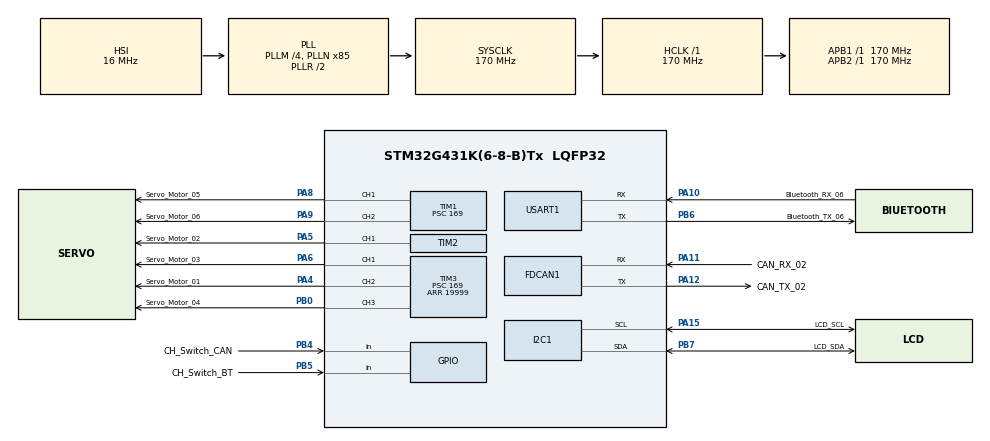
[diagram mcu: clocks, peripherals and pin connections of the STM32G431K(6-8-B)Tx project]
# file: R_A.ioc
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FDCAN1.CalculateBaudRateNominal=499999
FDCAN1.CalculateTimeBitNominal=2000
FDCAN1.CalculateTimeQuantumNominal=117.64705882352942
FDCAN1.NominalPrescaler=20
FDCAN1.NominalSyncJumpWidth=3
FDCAN1.NominalTimeSeg1=12
FDCAN1.NominalTimeSeg2=4
FDCAN1.StdFiltersNbr=1
FREERTOS.Queues01=recvQueue,8,8,1,Dynamic,NULL,NULL
FREERTOS.Tasks01=ServoTask,24,256,StartServoTask,Default,NULL,Dynamic,NULL,NULL;CommTask,32,256,StartCommTask,Default,NULL,Dynamic,NULL,NULL;LcdTask,8,256,StartLcdTask,Default,NULL,Dynamic,NULL,NULL;SwitchTask,24,256,StartSwitchTask,Default,NULL,Dynamic,NULL,NULL
FREERTOS.configTOTAL_HEAP_SIZE=6144
I2C1.Timing=0x40B285C2
Mcu.Family=STM32G4
Mcu.Name=STM32G431K(6-8-B)Tx
Mcu.Package=LQFP32
NVIC.FDCAN1_IT0_IRQn=true\:5\:0\:false\:false\:true\:true\:true\:true\:true
NVIC.PriorityGroup=NVIC_PRIORITYGROUP_4
NVIC.TIM6_DAC_IRQn=true\:15\:0\:false\:false\:true\:false\:false\:true\:true
NVIC.TimeBase=TIM6_DAC_IRQn
NVIC.TimeBaseIP=TIM6
NVIC.USART1_IRQn=true\:5\:0\:false\:false\:true\:true\:true\:true\:true
PA10.GPIO_Label=BIuetooth_RX_06
PA10.Mode=Asynchronous
PA10.Signal=USART1_RX
PA11.GPIO_Label=CAN_RX_02
PA11.Mode=FDCAN_Activate
PA11.Signal=FDCAN1_RX
PA12.GPIO_Label=CAN_TX_02
PA12.Mode=FDCAN_Activate
PA12.Signal=FDCAN1_TX
PA15.GPIO_Label=LCD_SCL
PA15.Mode=I2C
PA15.Signal=I2C1_SCL
PA4.GPIO_Label=Servo_Motor_01
PA4.Signal=S_TIM3_CH2
PA5.GPIO_Label=Servo_Motor_02
PA5.Signal=S_TIM2_CH1
PA6.GPIO_Label=Servo_Motor_03
PA6.Signal=S_TIM3_CH1
PA8.GPIO_Label=Servo_Motor_05
PA8.Signal=S_TIM1_CH1
PA9.GPIO_Label=Servo_Motor_06
PA9.Signal=S_TIM1_CH2
PB0.GPIO_Label=Servo_Motor_04
PB0.Signal=S_TIM3_CH3
PB4.GPIO_Label=CH_Switch_CAN
PB4.GPIO_PuPd=GPIO_PULLUP
PB4.Signal=GPIO_Input
PB5.GPIO_Label=CH_Switch_BT
PB5.GPIO_PuPd=GPIO_PULLUP
PB5.Signal=GPIO_Input
PB6.GPIO_Label=BIuetooth_TX_06
PB6.Mode=Asynchronous
PB6.Signal=USART1_TX
PB7.GPIO_Label=LCD_SDA
PB7.Mode=I2C
PB7.Signal=I2C1_SDA
ProjectManager.HeapSize=0x200
ProjectManager.StackSize=0x400
ProjectManager.TargetToolchain=STM32CubeIDE
RCC.ADC12Freq_Value=170000000
RCC.AHBFreq_Value=170000000
RCC.APB1Freq_Value=170000000
RCC.APB1TimFreq_Value=170000000
RCC.APB2Freq_Value=170000000
RCC.APB2TimFreq_Value=170000000
RCC.CortexFreq_Value=170000000
RCC.EXTERNAL_CLOCK_VALUE=12288000
RCC.HCLKFreq_Value=170000000
RCC.HSE_VALUE=8000000
RCC.HSI48_VALUE=48000000
RCC.HSI_VALUE=16000000
RCC.LSE_VALUE=32768
RCC.PLLM=RCC_PLLM_DIV4
RCC.PLLN=85
RCC.SYSCLKFreq_VALUE=170000000
RCC.SYSCLKSource=RCC_SYSCLKSOURCE_PLLCLK
RCC.USBFreq_Value=170000000
RCC.VCOOutputFreq_Value=340000000
SH.S_TIM1_CH1.0=TIM1_CH1,PWM Generation1 CH1
SH.S_TIM1_CH2.0=TIM1_CH2,PWM Generation2 CH2
SH.S_TIM2_CH1.0=TIM2_CH1,PWM Generation1 CH1
SH.S_TIM3_CH1.0=TIM3_CH1,PWM Generation1 CH1
SH.S_TIM3_CH2.0=TIM3_CH2,PWM Generation2 CH2
SH.S_TIM3_CH3.0=TIM3_CH3,PWM Generation3 CH3
TIM1.Channel-PWM\ Generation1\ CH1=TIM_CHANNEL_1
TIM1.Channel-PWM\ Generation2\ CH2=TIM_CHANNEL_2
TIM1.OCMode_PWM-PWM\ Generation2\ CH2=TIM_OCMODE_PWM1
TIM1.PeriodNoDither=19999
TIM1.Prescaler=169
TIM1.PulseNoDither_1=1500
TIM1.PulseNoDither_2=1500
TIM2.Channel-PWM\ Generation1\ CH1=TIM_CHANNEL_1
TIM2.PeriodNoDither=19999
TIM2.Prescaler=169
TIM2.PulseNoDither_1=1500
TIM3.Channel-PWM\ Generation1\ CH1=TIM_CHANNEL_1
TIM3.Channel-PWM\ Generation2\ CH2=TIM_CHANNEL_2
TIM3.Channel-PWM\ Generation3\ CH3=TIM_CHANNEL_3
TIM3.OCMode_PWM-PWM\ Generation2\ CH2=TIM_OCMODE_PWM1
TIM3.PeriodNoDither=19999
TIM3.Prescaler=169
TIM3.PulseNoDither_1=1500
TIM3.PulseNoDither_2=1500
TIM3.PulseNoDither_3=1500
USART1.VirtualMode-Asynchronous=VM_ASYNC
VP_FREERTOS_VS_CMSIS_V2.Mode=CMSIS_V2
VP_SYS_VS_DBSignals.Mode=DisableDeadBatterySignals
VP_SYS_VS_tim6.Mode=TIM6
VP_TIM1_VS_ClockSourceINT.Mode=Internal
board=custom

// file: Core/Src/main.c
/* USER CODE BEGIN Header */
/**
  ******************************************************************************
  * @file           : main.c
  * @brief          : Main program body
  ******************************************************************************
  * @attention
  *
  * Copyright (c) 2026 STMicroelectronics.
  * All rights reserved.
  *
  * This software is licensed under terms that can be found in the LICENSE file
  * in the root directory of this software component.
  * If no LICENSE file comes with this software, it is provided AS-IS.
  *
  ******************************************************************************
  */
/* USER CODE END Header */
#include "main.h"
#include "cmsis_os.h"

/* USER CODE BEGIN Includes */
#include "Packet.h"
#include "bluetooth.h"
#include "can_comm.h"
#include "switch_mode.h"
#include "servo.h"
#include "lcd.h"
#include <string.h>
/* USER CODE END Includes */

FDCAN_HandleTypeDef hfdcan1;

I2C_HandleTypeDef hi2c1;

TIM_HandleTypeDef htim1;
TIM_HandleTypeDef htim2;
TIM_HandleTypeDef htim3;

UART_HandleTypeDef huart1;

/* Definitions for ServoTask */
osThreadId_t ServoTaskHandle;
const osThreadAttr_t ServoTask_attributes = {
  .name = "ServoTask",
  .priority = (osPriority_t) osPriorityNormal,
  .stack_size = 256 * 4
};
/* Definitions for CommTask */
osThreadId_t CommTaskHandle;
const osThreadAttr_t CommTask_attributes = {
  .name = "CommTask",
  .priority = (osPriority_t) osPriorityAboveNormal,
  .stack_size = 256 * 4
};
/* Definitions for LcdTask */
osThreadId_t LcdTaskHandle;
const osThreadAttr_t LcdTask_attributes = {
  .name = "LcdTask",
  .priority = (osPriority_t) osPriorityLow,
  .stack_size = 256 * 4
};
/* Definitions for SwitchTask */
osThreadId_t SwitchTaskHandle;
const osThreadAttr_t SwitchTask_attributes = {
  .name = "SwitchTask",
  .priority = (osPriority_t) osPriorityNormal,
  .stack_size = 256 * 4
};
/* Definitions for recvQueue */
osMessageQueueId_t recvQueueHandle;
const osMessageQueueAttr_t recvQueue_attributes = {
  .name = "recvQueue"
};
/* Definitions for Timer100ms (SERVO_DBG 0x200 송신용) */
osTimerId_t Timer100msHandle;
const osTimerAttr_t Timer100ms_attributes = {
  .name = "Timer100ms"
};
/* Definitions for Timer1000ms (ERROR_ROBOT 0x201 송신용) */
osTimerId_t Timer1000msHandle;
const osTimerAttr_t Timer1000ms_attributes = {
  .name = "Timer1000ms"
};
/* USER CODE BEGIN PV */
static GSensorPacket_t g_btRxGSensorPkt; /* BT에서 마지막으로 수신한 원본 (채널별 구분용, Live Expression 확인용) */
static FlexPacket_t    g_btRxFlexPkt;
/* USER CODE END PV */

void SystemClock_Config(void);
static void MX_GPIO_Init(void);
static void MX_FDCAN1_Init(void);
static void MX_I2C1_Init(void);
static void MX_TIM1_Init(void);
static void MX_TIM2_Init(void);
static void MX_TIM3_Init(void);
static void MX_USART1_UART_Init(void);
void StartServoTask(void *argument);
void StartCommTask(void *argument);
void StartLcdTask(void *argument);
void StartSwitchTask(void *argument);
void Callback_100ms(void *argument);
void Callback_1000ms(void *argument);

int main(void)
{

  /* MCU Configuration--------------------------------------------------------*/

  /* Reset of all peripherals, Initializes the Flash interface and the Systick. */
  HAL_Init();

  /* Configure the system clock */
  SystemClock_Config();

  /* Initialize all configured peripherals */
  MX_GPIO_Init();
  MX_FDCAN1_Init();
  MX_I2C1_Init();
  MX_TIM1_Init();
  MX_TIM2_Init();
  MX_TIM3_Init();
  MX_USART1_UART_Init();
  /* USER CODE BEGIN 2 */
  CAN_Comm_Init();
  /* USER CODE END 2 */

  /* Init scheduler */
  osKernelInitialize();

  /* Create the timer(s) */
  /* creation of Timer100ms */
  Timer100msHandle = osTimerNew(Callback_100ms, osTimerPeriodic, NULL, &Timer100ms_attributes);

  /* creation of Timer1000ms */
  Timer1000msHandle = osTimerNew(Callback_1000ms, osTimerPeriodic, NULL, &Timer1000ms_attributes);

  /* USER CODE BEGIN RTOS_TIMERS */
  osTimerStart(Timer100msHandle, 100);   /* SERVO_DBG(0x200) 주기 송신 시작 */
  osTimerStart(Timer1000msHandle, 1000); /* ERROR_ROBOT(0x201) 주기 송신 시작 */
  /* USER CODE END RTOS_TIMERS */

  /* Create the queue(s) */
  /* creation of recvQueue */
  recvQueueHandle = osMessageQueueNew (8, 8, &recvQueue_attributes);

  /* Create the thread(s) */
  /* creation of ServoTask */
  ServoTaskHandle = osThreadNew(StartServoTask, NULL, &ServoTask_attributes);

  /* creation of CommTask */
  CommTaskHandle = osThreadNew(StartCommTask, NULL, &CommTask_attributes);

  /* creation of LcdTask */
  LcdTaskHandle = osThreadNew(StartLcdTask, NULL, &LcdTask_attributes);

  /* creation of SwitchTask */
  SwitchTaskHandle = osThreadNew(StartSwitchTask, NULL, &SwitchTask_attributes);

  /* Start scheduler */
  osKernelStart();

  /* We should never get here as control is now taken by the scheduler */

  /* Infinite loop */
  while (1)
  {

  }
}

void SystemClock_Config(void)
{
  RCC_OscInitTypeDef RCC_OscInitStruct = {0};
  RCC_ClkInitTypeDef RCC_ClkInitStruct = {0};

  /** Configure the main internal regulator output voltage
  */
  HAL_PWREx_ControlVoltageScaling(PWR_REGULATOR_VOLTAGE_SCALE1_BOOST);

  /** Initializes the RCC Oscillators according to the specified parameters
  * in the RCC_OscInitTypeDef structure.
  */
  RCC_OscInitStruct.OscillatorType = RCC_OSCILLATORTYPE_HSI;
  RCC_OscInitStruct.HSIState = RCC_HSI_ON;
  RCC_OscInitStruct.HSICalibrationValue = RCC_HSICALIBRATION_DEFAULT;
  RCC_OscInitStruct.PLL.PLLState = RCC_PLL_ON;
  RCC_OscInitStruct.PLL.PLLSource = RCC_PLLSOURCE_HSI;
  RCC_OscInitStruct.PLL.PLLM = RCC_PLLM_DIV4;
  RCC_OscInitStruct.PLL.PLLN = 85;
  RCC_OscInitStruct.PLL.PLLP = RCC_PLLP_DIV2;
  RCC_OscInitStruct.PLL.PLLQ = RCC_PLLQ_DIV2;
  RCC_OscInitStruct.PLL.PLLR = RCC_PLLR_DIV2;
  if (HAL_RCC_OscConfig(&RCC_OscInitStruct) != HAL_OK)
  {
    Error_Handler();
  }

  /** Initializes the CPU, AHB and APB buses clocks
  */
  RCC_ClkInitStruct.ClockType = RCC_CLOCKTYPE_HCLK|RCC_CLOCKTYPE_SYSCLK
                              |RCC_CLOCKTYPE_PCLK1|RCC_CLOCKTYPE_PCLK2;
  RCC_ClkInitStruct.SYSCLKSource = RCC_SYSCLKSOURCE_PLLCLK;
  RCC_ClkInitStruct.AHBCLKDivider = RCC_SYSCLK_DIV1;
  RCC_ClkInitStruct.APB1CLKDivider = RCC_HCLK_DIV1;
  RCC_ClkInitStruct.APB2CLKDivider = RCC_HCLK_DIV1;

  if (HAL_RCC_ClockConfig(&RCC_ClkInitStruct, FLASH_LATENCY_4) != HAL_OK)
  {
    Error_Handler();
  }
}

static void MX_FDCAN1_Init(void)
{

  hfdcan1.Instance = FDCAN1;
  hfdcan1.Init.ClockDivider = FDCAN_CLOCK_DIV1;
  hfdcan1.Init.FrameFormat = FDCAN_FRAME_CLASSIC;
  hfdcan1.Init.Mode = FDCAN_MODE_NORMAL;
  hfdcan1.Init.AutoRetransmission = DISABLE;
  hfdcan1.Init.TransmitPause = DISABLE;
  hfdcan1.Init.ProtocolException = DISABLE;
  hfdcan1.Init.NominalPrescaler = 20;
  hfdcan1.Init.NominalSyncJumpWidth = 3;
  hfdcan1.Init.NominalTimeSeg1 = 12;
  hfdcan1.Init.NominalTimeSeg2 = 4;
  hfdcan1.Init.DataPrescaler = 1;
  hfdcan1.Init.DataSyncJumpWidth = 1;
  hfdcan1.Init.DataTimeSeg1 = 1;
  hfdcan1.Init.DataTimeSeg2 = 1;
  hfdcan1.Init.StdFiltersNbr = 0;
  hfdcan1.Init.ExtFiltersNbr = 0;
  hfdcan1.Init.TxFifoQueueMode = FDCAN_TX_FIFO_OPERATION;
  if (HAL_FDCAN_Init(&hfdcan1) != HAL_OK)
  {
    Error_Handler();
  }

}

static void MX_I2C1_Init(void)
{

  hi2c1.Instance = I2C1;
  hi2c1.Init.Timing = 0x40B285C2;
  hi2c1.Init.OwnAddress1 = 0;
  hi2c1.Init.AddressingMode = I2C_ADDRESSINGMODE_7BIT;
  hi2c1.Init.DualAddressMode = I2C_DUALADDRESS_DISABLE;
  hi2c1.Init.OwnAddress2 = 0;
  hi2c1.Init.OwnAddress2Masks = I2C_OA2_NOMASK;
  hi2c1.Init.GeneralCallMode = I2C_GENERALCALL_DISABLE;
  hi2c1.Init.NoStretchMode = I2C_NOSTRETCH_DISABLE;
  if (HAL_I2C_Init(&hi2c1) != HAL_OK)
  {
    Error_Handler();
  }

  /** Configure Analogue filter
  */
  if (HAL_I2CEx_ConfigAnalogFilter(&hi2c1, I2C_ANALOGFILTER_ENABLE) != HAL_OK)
  {
    Error_Handler();
  }

  /** Configure Digital filter
  */
  if (HAL_I2CEx_ConfigDigitalFilter(&hi2c1, 0) != HAL_OK)
  {
    Error_Handler();
  }

}

static void MX_TIM1_Init(void)
{

  TIM_ClockConfigTypeDef sClockSourceConfig = {0};
  TIM_MasterConfigTypeDef sMasterConfig = {0};
  TIM_OC_InitTypeDef sConfigOC = {0};
  TIM_BreakDeadTimeConfigTypeDef sBreakDeadTimeConfig = {0};

  htim1.Instance = TIM1;
  htim1.Init.Prescaler = 169;
  htim1.Init.CounterMode = TIM_COUNTERMODE_UP;
  htim1.Init.Period = 19999;
  htim1.Init.ClockDivision = TIM_CLOCKDIVISION_DIV1;
  htim1.Init.RepetitionCounter = 0;
  htim1.Init.AutoReloadPreload = TIM_AUTORELOAD_PRELOAD_DISABLE;
  if (HAL_TIM_Base_Init(&htim1) != HAL_OK)
  {
    Error_Handler();
  }
  sClockSourceConfig.ClockSource = TIM_CLOCKSOURCE_INTERNAL;
  if (HAL_TIM_ConfigClockSource(&htim1, &sClockSourceConfig) != HAL_OK)
  {
    Error_Handler();
  }
  if (HAL_TIM_PWM_Init(&htim1) != HAL_OK)
  {
    Error_Handler();
  }
  sMasterConfig.MasterOutputTrigger = TIM_TRGO_RESET;
  sMasterConfig.MasterOutputTrigger2 = TIM_TRGO2_RESET;
  sMasterConfig.MasterSlaveMode = TIM_MASTERSLAVEMODE_DISABLE;
  if (HAL_TIMEx_MasterConfigSynchronization(&htim1, &sMasterConfig) != HAL_OK)
  {
    Error_Handler();
  }
  sConfigOC.OCMode = TIM_OCMODE_PWM1;
  sConfigOC.Pulse = 1500;
  sConfigOC.OCPolarity = TIM_OCPOLARITY_HIGH;
  sConfigOC.OCNPolarity = TIM_OCNPOLARITY_HIGH;
  sConfigOC.OCFastMode = TIM_OCFAST_DISABLE;
  sConfigOC.OCIdleState = TIM_OCIDLESTATE_RESET;
  sConfigOC.OCNIdleState = TIM_OCNIDLESTATE_RESET;
  if (HAL_TIM_PWM_ConfigChannel(&htim1, &sConfigOC, TIM_CHANNEL_1) != HAL_OK)
  {
    Error_Handler();
  }
  if (HAL_TIM_PWM_ConfigChannel(&htim1, &sConfigOC, TIM_CHANNEL_2) != HAL_OK)
  {
    Error_Handler();
  }
  sBreakDeadTimeConfig.OffStateRunMode = TIM_OSSR_DISABLE;
  sBreakDeadTimeConfig.OffStateIDLEMode = TIM_OSSI_DISABLE;
  sBreakDeadTimeConfig.LockLevel = TIM_LOCKLEVEL_OFF;
  sBreakDeadTimeConfig.DeadTime = 0;
  sBreakDeadTimeConfig.BreakState = TIM_BREAK_DISABLE;
  sBreakDeadTimeConfig.BreakPolarity = TIM_BREAKPOLARITY_HIGH;
  sBreakDeadTimeConfig.BreakFilter = 0;
  sBreakDeadTimeConfig.BreakAFMode = TIM_BREAK_AFMODE_INPUT;
  sBreakDeadTimeConfig.Break2State = TIM_BREAK2_DISABLE;
  sBreakDeadTimeConfig.Break2Polarity = TIM_BREAK2POLARITY_HIGH;
  sBreakDeadTimeConfig.Break2Filter = 0;
  sBreakDeadTimeConfig.Break2AFMode = TIM_BREAK_AFMODE_INPUT;
  sBreakDeadTimeConfig.AutomaticOutput = TIM_AUTOMATICOUTPUT_DISABLE;
  if (HAL_TIMEx_ConfigBreakDeadTime(&htim1, &sBreakDeadTimeConfig) != HAL_OK)
  {
    Error_Handler();
  }
  HAL_TIM_MspPostInit(&htim1);

}

static void MX_TIM2_Init(void)
{

  TIM_MasterConfigTypeDef sMasterConfig = {0};
  TIM_OC_InitTypeDef sConfigOC = {0};

  htim2.Instance = TIM2;
  htim2.Init.Prescaler = 169;
  htim2.Init.CounterMode = TIM_COUNTERMODE_UP;
  htim2.Init.Period = 19999;
  htim2.Init.ClockDivision = TIM_CLOCKDIVISION_DIV1;
  htim2.Init.AutoReloadPreload = TIM_AUTORELOAD_PRELOAD_DISABLE;
  if (HAL_TIM_PWM_Init(&htim2) != HAL_OK)
  {
    Error_Handler();
  }
  sMasterConfig.MasterOutputTrigger = TIM_TRGO_RESET;
  sMasterConfig.MasterSlaveMode = TIM_MASTERSLAVEMODE_DISABLE;
  if (HAL_TIMEx_MasterConfigSynchronization(&htim2, &sMasterConfig) != HAL_OK)
  {
    Error_Handler();
  }
  sConfigOC.OCMode = TIM_OCMODE_PWM1;
  sConfigOC.Pulse = 1500;
  sConfigOC.OCPolarity = TIM_OCPOLARITY_HIGH;
  sConfigOC.OCFastMode = TIM_OCFAST_DISABLE;
  if (HAL_TIM_PWM_ConfigChannel(&htim2, &sConfigOC, TIM_CHANNEL_1) != HAL_OK)
  {
    Error_Handler();
  }
  HAL_TIM_MspPostInit(&htim2);

}

static void MX_TIM3_Init(void)
{

  TIM_MasterConfigTypeDef sMasterConfig = {0};
  TIM_OC_InitTypeDef sConfigOC = {0};

  htim3.Instance = TIM3;
  htim3.Init.Prescaler = 169;
  htim3.Init.CounterMode = TIM_COUNTERMODE_UP;
  htim3.Init.Period = 19999;
  htim3.Init.ClockDivision = TIM_CLOCKDIVISION_DIV1;
  htim3.Init.AutoReloadPreload = TIM_AUTORELOAD_PRELOAD_DISABLE;
  if (HAL_TIM_PWM_Init(&htim3) != HAL_OK)
  {
    Error_Handler();
  }
  sMasterConfig.MasterOutputTrigger = TIM_TRGO_RESET;
  sMasterConfig.MasterSlaveMode = TIM_MASTERSLAVEMODE_DISABLE;
  if (HAL_TIMEx_MasterConfigSynchronization(&htim3, &sMasterConfig) != HAL_OK)
  {
    Error_Handler();
  }
  sConfigOC.OCMode = TIM_OCMODE_PWM1;
  sConfigOC.Pulse = 1500;
  sConfigOC.OCPolarity = TIM_OCPOLARITY_HIGH;
  sConfigOC.OCFastMode = TIM_OCFAST_DISABLE;
  if (HAL_TIM_PWM_ConfigChannel(&htim3, &sConfigOC, TIM_CHANNEL_1) != HAL_OK)
  {
    Error_Handler();
  }
  if (HAL_TIM_PWM_ConfigChannel(&htim3, &sConfigOC, TIM_CHANNEL_2) != HAL_OK)
  {
    Error_Handler();
  }
  if (HAL_TIM_PWM_ConfigChannel(&htim3, &sConfigOC, TIM_CHANNEL_3) != HAL_OK)
  {
    Error_Handler();
  }
  HAL_TIM_MspPostInit(&htim3);

}

static void MX_USART1_UART_Init(void)
{

  huart1.Instance = USART1;
  huart1.Init.BaudRate = 115200;
  huart1.Init.WordLength = UART_WORDLENGTH_8B;
  huart1.Init.StopBits = UART_STOPBITS_1;
  huart1.Init.Parity = UART_PARITY_NONE;
  huart1.Init.Mode = UART_MODE_TX_RX;
  huart1.Init.HwFlowCtl = UART_HWCONTROL_NONE;
  huart1.Init.OverSampling = UART_OVERSAMPLING_16;
  huart1.Init.OneBitSampling = UART_ONE_BIT_SAMPLE_DISABLE;
  huart1.Init.ClockPrescaler = UART_PRESCALER_DIV1;
  huart1.AdvancedInit.AdvFeatureInit = UART_ADVFEATURE_NO_INIT;
  if (HAL_UART_Init(&huart1) != HAL_OK)
  {
    Error_Handler();
  }
  if (HAL_UARTEx_SetTxFifoThreshold(&huart1, UART_TXFIFO_THRESHOLD_1_8) != HAL_OK)
  {
    Error_Handler();
  }
  if (HAL_UARTEx_SetRxFifoThreshold(&huart1, UART_RXFIFO_THRESHOLD_1_8) != HAL_OK)
  {
    Error_Handler();
  }
  if (HAL_UARTEx_DisableFifoMode(&huart1) != HAL_OK)
  {
    Error_Handler();
  }

}

static void MX_GPIO_Init(void)
{
  GPIO_InitTypeDef GPIO_InitStruct = {0};

  /* GPIO Ports Clock Enable */
  __HAL_RCC_GPIOA_CLK_ENABLE();
  __HAL_RCC_GPIOB_CLK_ENABLE();

  /*Configure GPIO pins : CH_Switch_CAN_Pin CH_Switch_BT_Pin */
  GPIO_InitStruct.Pin = CH_Switch_CAN_Pin|CH_Switch_BT_Pin;
  GPIO_InitStruct.Mode = GPIO_MODE_INPUT;
  GPIO_InitStruct.Pull = GPIO_PULLUP;
  HAL_GPIO_Init(GPIOB, &GPIO_InitStruct);

}

void StartServoTask(void *argument)
{
  /* USER CODE BEGIN 5 */
  Servo_Init();
  for(;;)
  {
    Servo_Update(&latest_gPkt, &latest_fPkt);
    osDelay(20);
  }
  /* USER CODE END 5 */
}

void StartCommTask(void *argument)
{
  /* USER CODE BEGIN StartCommTask */
  BT_Init();
  CommMode_t prev_mode = COMM_NONE;
  for(;;)
  {
    CommMode_t cur_mode = SwitchMode_Get();
    if (cur_mode == COMM_BT)
    {
      if (prev_mode != COMM_BT)
        BT_FlushQueue();
      if (BT_Recv(&g_btRxGSensorPkt, &g_btRxFlexPkt) == BT_OK)
      {
        memcpy((void *)&latest_gPkt, &g_btRxGSensorPkt, sizeof(GSensorPacket_t));
        memcpy((void *)&latest_fPkt, &g_btRxFlexPkt, sizeof(FlexPacket_t));
      }
    }
    else
    {
      osDelay(10);
    }
    prev_mode = cur_mode;
    CAN_Recovery(); /* CAN 끊김 상태면 2초마다 재연결 시도 */
  }
  /* USER CODE END StartCommTask */
}

void StartLcdTask(void *argument)
{
  /* USER CODE BEGIN StartLcdTask */
  typedef enum { LCD_NORMAL=0, LCD_MODE, LCD_WAIT_CONNECT, LCD_CONNECTED, LCD_ANGLES } LcdState_t;

  LCD_Init();

  LcdState_t state     = LCD_NORMAL;
  CommMode_t prev_mode = COMM_NONE;
  uint32_t   state_tick = 0;
  uint32_t   reinit_tick = 0; /* 서보 PWM 노이즈로 LCD가 깨져도 스스로 복구되도록 주기적 재초기화 */

  LCD_ShowNormal();

  for(;;)
  {
    CommMode_t cur_mode = SwitchMode_Get();

    /* [노이즈 복구] 3초(100ms*30)마다 LCD 컨트롤러를 강제 재초기화하고 현재 화면을 다시 그림.
     * I2C 쓰기 실패를 개별적으로 감지하지 않아도, 노이즈로 깨진 상태가 최대 3초 안에 스스로 복구됨. */
    reinit_tick++;
    if (reinit_tick >= 30)
    {
      reinit_tick = 0;
      LCD_Init();
      switch (state)
      {
        case LCD_NORMAL:       LCD_ShowNormal();          break;
        case LCD_MODE:
        case LCD_WAIT_CONNECT: LCD_ShowMode(cur_mode);    break;
        case LCD_CONNECTED:    LCD_ShowConnected();       break;
        case LCD_ANGLES:       LCD_ShowAngles(servo_angles); break;
      }
    }

    switch (state)
    {
      case LCD_NORMAL:
        if (cur_mode != COMM_NONE)
        {
          LCD_ShowMode(cur_mode);
          state_tick = osKernelGetTickCount();
          state = LCD_MODE;
        }
        break;

      case LCD_MODE:
        if (cur_mode == COMM_NONE)
        {
          LCD_ShowNormal();
          state = LCD_NORMAL;
          break;
        }
        if (cur_mode != prev_mode)
        {
          LCD_ShowMode(cur_mode);
          state_tick = osKernelGetTickCount();
        }
        if ((osKernelGetTickCount() - state_tick) >= 2000)
          state = LCD_WAIT_CONNECT;
        break;

      case LCD_WAIT_CONNECT:
        if (cur_mode == COMM_NONE)
        {
          LCD_ShowNormal();
          state = LCD_NORMAL;
          break;
        }
        if (cur_mode != prev_mode)
        {
          LCD_ShowMode(cur_mode);
          state_tick = osKernelGetTickCount();
          state = LCD_MODE;
          break;
        }
        if (comm_connected != COMM_CONNECTED_NONE)
        {
          LCD_ShowConnected();
          state_tick = osKernelGetTickCount();
          state = LCD_CONNECTED;
        }
        break;

      case LCD_CONNECTED:
        if ((osKernelGetTickCount() - state_tick) >= 1000)
        {
          LCD_ShowAngles(servo_angles);
          state = LCD_ANGLES;
        }
        break;

      case LCD_ANGLES:
        LCD_ShowAngles(servo_angles);
        if (cur_mode == COMM_NONE)
        {
          LCD_ShowNormal();
          state = LCD_NORMAL;
        }
        else if (cur_mode != prev_mode)
        {
          LCD_ShowMode(cur_mode);
          state_tick = osKernelGetTickCount();
          state = LCD_MODE;
        }
        break;
    }

    prev_mode = cur_mode;
    osDelay(100);
  }
  /* USER CODE END StartLcdTask */
}

void StartSwitchTask(void *argument)
{
  /* USER CODE BEGIN StartSwitchTask */
  CommMode_t prev_mode = COMM_NONE;
  for(;;)
  {
    SwitchMode_Update();
    CommMode_t cur_mode = SwitchMode_Get();
    if (cur_mode != prev_mode)
    {
      comm_connected = COMM_CONNECTED_NONE;
      prev_mode = cur_mode;
    }
    osDelay(50);
  }
  /* USER CODE END StartSwitchTask */
}

/* Callback_100ms function — SERVO_DBG(0x200) 100ms 주기 송신 */
void Callback_100ms(void *argument)
{
  Servo_PackDbg(&g_servoDbgPkt);
  CAN_Send(CAN_MSG_SERVO_DBG, (const uint8_t *)&g_servoDbgPkt);
}

/* Callback_1000ms function — ERROR_ROBOT(0x201) 1000ms 주기 송신 */
void Callback_1000ms(void *argument)
{
  RobotStatus_Send();
}

void HAL_TIM_PeriodElapsedCallback(TIM_HandleTypeDef *htim)
{
  if (htim->Instance == TIM6)
  {
    HAL_IncTick();
  }
}

void Error_Handler(void)
{
  __disable_irq();
  while (1)
  {
  }
}
